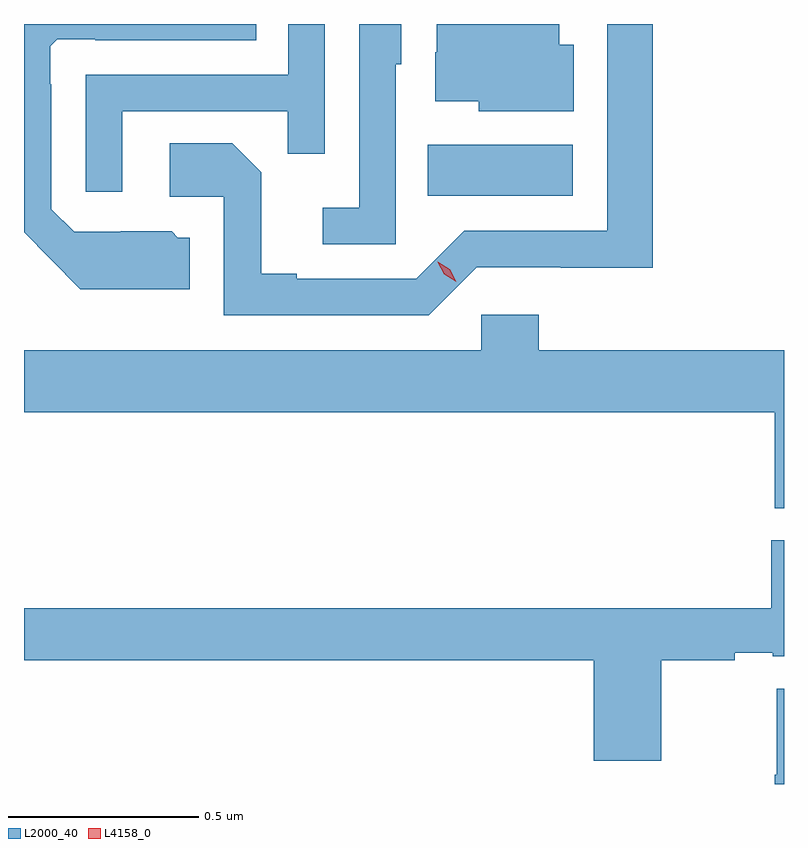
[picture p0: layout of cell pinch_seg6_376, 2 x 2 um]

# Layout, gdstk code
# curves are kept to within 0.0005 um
import gdstk
lib = gdstk.Library(unit=1e-6, precision=1e-09)
def R(c, l, rs):  # rectangles x0, y0, x1, y1
    for r in rs: c.add(gdstk.rectangle(r[:2], r[2:], *l))
def P(c, l, *ps):  # polygons
    for p in ps: c.add(gdstk.Polygon(p, *l))
L2000_40 = (2000, 40)
L4158_0 = (4158, 0)

pinch_seg6_376 = lib.new_cell('pinch_seg6_376')
R(pinch_seg6_376, L2000_40, [(635.98,950.57,636.361,950.704)])
P(pinch_seg6_376, L2000_40, [(636.108,950.382),(636.33,950.382),(636.33,950.381),(636.571,950.381),(636.571,951.022),(636.452,951.022),(636.452,950.478),(636.075,950.478),(635.949,950.352),(635.635,950.352),(635.635,950.365),(635.541,950.365),(635.541,950.632),(635.465,950.708),(635.301,950.708),(635.301,950.568),(635.442,950.568),(635.442,950.256),(635.982,950.256)],
  [(635.175,950.793),(635.611,950.793),(635.611,950.68),(635.709,950.68),(635.709,951.022),(635.613,951.022),(635.613,950.889),(635.079,950.889),(635.079,950.58),(635.175,950.58)],
  [(636.364,950.968),(636.325,950.968),(636.325,951.022),(636.003,951.022),(636.003,950.948),(635.999,950.948),(635.999,950.819),(636.114,950.819),(636.114,950.792),(636.364,950.792)],
  [(635.353,950.46),(635.322,950.46),(635.306,950.476),(635.172,950.476),(635.172,950.475),(635.049,950.475),(634.989,950.535),(634.989,950.864),(634.986,950.864),(634.986,950.964),(635.004,950.982),(635.104,950.982),(635.104,950.979),(635.528,950.979),(635.528,951.022),(634.917,951.022),(634.917,950.474),(635.065,950.324),(635.353,950.324)],
  [(635.895,950.916),(635.91,950.916),(635.91,951.022),(635.799,951.022),(635.799,950.539),(635.703,950.539),(635.703,950.442),(635.895,950.442)],
  [(636.917,950.164),(636.272,950.164),(636.272,950.257),(636.12,950.257),(636.12,950.164),(634.917,950.164),(634.917,950),(636.893,950),(636.893,949.748),(636.917,949.748)],
  [(636.594,949.348),(636.788,949.348),(636.788,949.368),(636.888,949.368),(636.888,949.358),(636.917,949.358),(636.917,949.663),(636.884,949.663),(636.884,949.484),(634.917,949.484),(634.917,949.348),(636.416,949.348),(636.416,949.083),(636.594,949.083)],
  [(636.917,949.273),(636.898,949.273),(636.898,949.047),(636.893,949.047),(636.893,949.022),(636.917,949.022)])
P(pinch_seg6_376, L4158_0, [(636.055,950.344),(636.023,950.363),(636.006,950.395),(636.006,950.396),(636.006,950.396),(636.038,950.376),(636.055,950.344),(636.055,950.344)])

lib.write_gds('pinch_seg6_376.gds')
